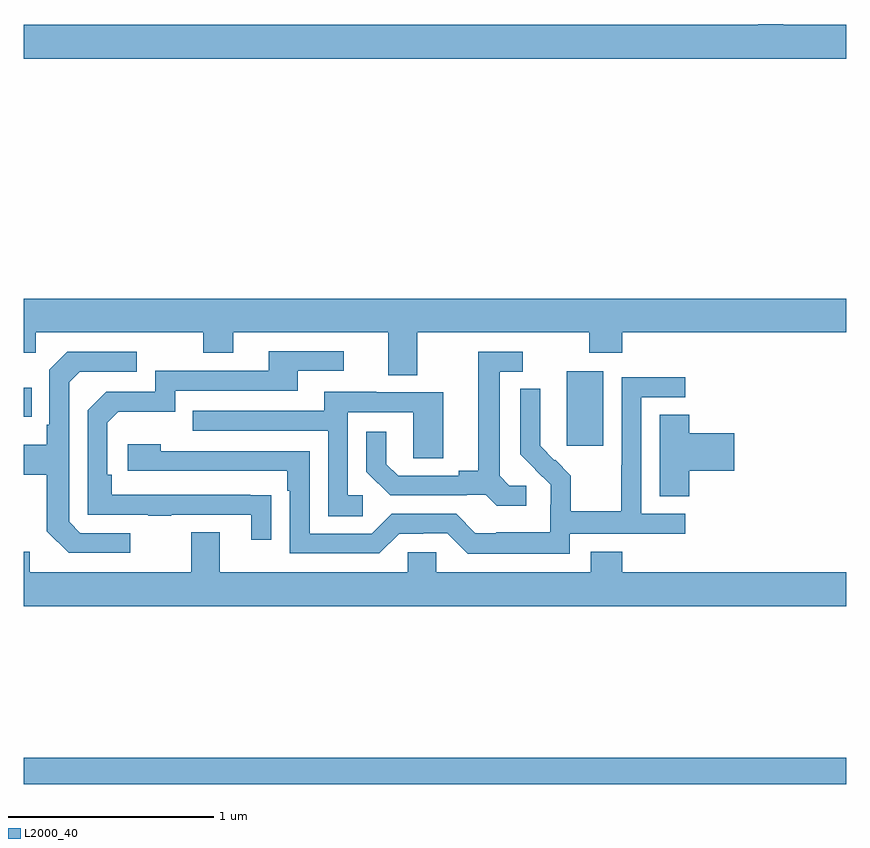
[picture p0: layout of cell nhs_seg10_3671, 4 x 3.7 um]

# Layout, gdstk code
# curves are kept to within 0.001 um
import gdstk
lib = gdstk.Library(unit=1e-6, precision=1e-09)
def R(c, l, rs):  # rectangles x0, y0, x1, y1
    for r in rs: c.add(gdstk.rectangle(r[:2], r[2:], *l))
def P(c, l, *ps):  # polygons
    for p in ps: c.add(gdstk.Polygon(p, *l))
L2000_40 = (2000, 40)

nhs_seg10_3671 = lib.new_cell('nhs_seg10_3671')
R(nhs_seg10_3671, L2000_40, [(311,1280.802,315,1280.93), (313.64,1282.449,313.819,1282.81), (311,1282.589,311.039,1282.729)])
P(nhs_seg10_3671, L2000_40, [(315,1284.496),(314.695,1284.496),(314.695,1284.5),(314.573,1284.5),(314.573,1284.496),(311,1284.496),(311,1284.332),(315,1284.332)],
  [(312.913,1283),(313.75,1283),(313.75,1282.901),(313.91,1282.901),(313.91,1283),(315,1283),(315,1283.164),(311,1283.164),(311,1282.901),(311.058,1282.901),(311.058,1283),(311.872,1283),(311.872,1282.901),(312.019,1282.901),(312.019,1283),(312.773,1283),(312.773,1282.792),(312.913,1282.792)],
  [(312.203,1282.208),(311.426,1282.209),(311.426,1282.306),(311.406,1282.306),(311.406,1282.56),(311.459,1282.613),(311.736,1282.613),(311.736,1282.716),(312.331,1282.716),(312.331,1282.812),(312.556,1282.812),(312.556,1282.908),(312.191,1282.908),(312.191,1282.812),(311.64,1282.812),(311.64,1282.71),(311.4,1282.71),(311.31,1282.62),(311.31,1282.113),(311.605,1282.113),(311.605,1282.108),(311.717,1282.108),(311.717,1282.113),(312.107,1282.113),(312.107,1281.99),(312.203,1281.99)],
  [(313.444,1282.254),(313.362,1282.254),(313.315,1282.301),(313.315,1282.809),(313.426,1282.809),(313.426,1282.905),(313.211,1282.905),(313.211,1282.325),(313.115,1282.325),(313.115,1282.302),(312.82,1282.302),(312.763,1282.359),(312.763,1282.516),(312.666,1282.516),(312.666,1282.322),(312.782,1282.206),(313.154,1282.206),(313.154,1282.209),(313.248,1282.209),(313.3,1282.157),(313.444,1282.157)],
  [(311.518,1282.023),(311.274,1282.023),(311.22,1282.077),(311.22,1282.758),(311.271,1282.809),(311.548,1282.809),(311.548,1282.905),(311.211,1282.905),(311.124,1282.818),(311.124,1282.549),(311.112,1282.549),(311.112,1282.453),(311,1282.453),(311,1282.306),(311.112,1282.306),(311.112,1282.033),(311.217,1281.927),(311.518,1281.927)],
  [(313.656,1282.02),(314.218,1282.02),(314.218,1282.116),(314.004,1282.116),(314.004,1282.683),(314.218,1282.683),(314.218,1282.782),(313.908,1282.782),(313.908,1282.352),(313.906,1282.352),(313.906,1282.129),(313.661,1282.129),(313.661,1282.303),(313.584,1282.38),(313.581,1282.377),(313.511,1282.448),(313.512,1282.724),(313.416,1282.724),(313.416,1282.406),(313.562,1282.258),(313.562,1282.161),(313.56,1282.161),(313.56,1282.027),(313.297,1282.027),(313.297,1282.023),(313.197,1282.023),(313.104,1282.116),(312.789,1282.116),(312.693,1282.02),(312.39,1282.02),(312.39,1282.422),(311.666,1282.422),(311.666,1282.456),(311.505,1282.456),(311.505,1282.326),(312.281,1282.326),(312.281,1282.229),(312.294,1282.229),(312.294,1281.924),(312.729,1281.924),(312.825,1282.02),(312.944,1282.02),(312.944,1282.023),(313.059,1282.023),(313.159,1281.923),(313.656,1281.923)],
  [(312.649,1282.206),(312.576,1282.206),(312.576,1282.611),(312.894,1282.611),(312.894,1282.387),(313.039,1282.387),(313.039,1282.707),(312.715,1282.707),(312.715,1282.711),(312.461,1282.711),(312.461,1282.617),(311.821,1282.617),(311.821,1282.521),(312.48,1282.521),(312.48,1282.105),(312.649,1282.105)],
  [(314.237,1282.325),(314.455,1282.325),(314.455,1282.508),(314.237,1282.508),(314.237,1282.598),(314.093,1282.598),(314.093,1282.201),(314.237,1282.201)],
  [(315,1281.832),(313.91,1281.832),(313.91,1281.931),(313.757,1281.931),(313.757,1281.832),(313.005,1281.832),(313.005,1281.93),(312.867,1281.93),(312.867,1281.832),(311.953,1281.832),(311.953,1282.027),(311.813,1282.027),(311.813,1281.832),(311.029,1281.832),(311.029,1281.931),(311,1281.931),(311,1281.668),(315,1281.668)])

lib.write_gds('nhs_seg10_3671.gds')
